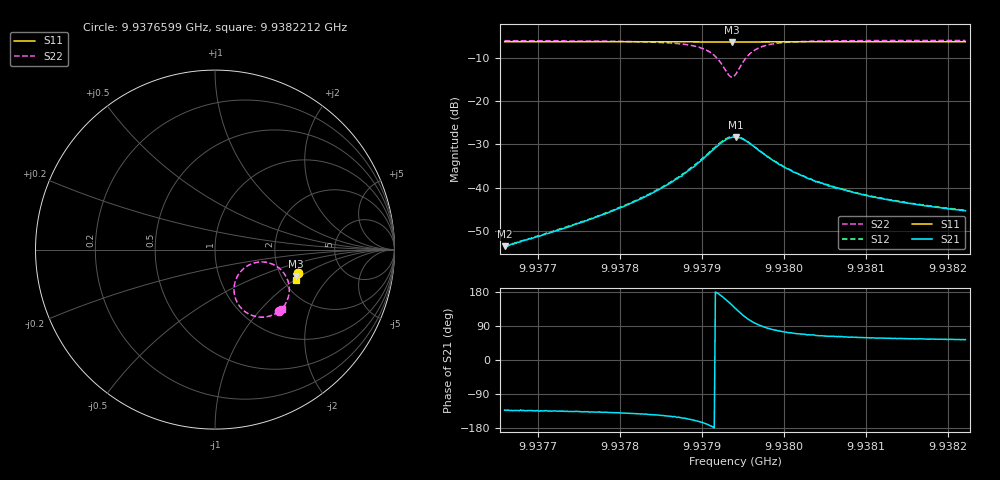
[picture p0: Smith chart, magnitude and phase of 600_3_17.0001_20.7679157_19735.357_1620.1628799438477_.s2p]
#  HZ  S  RI  R  50.00
! Rohde & Schwarz Vector Network Analyzer
! Rohde-Schwarz,ZNB20-2Port,1311601062101988,3.16
! Created: UTC 3/20/2024, 11:19:00 PM
! freq[Hz]  re:S11  im:S11  re:S21  im:S21  re:S12  im:S12  re:S22  im:S22
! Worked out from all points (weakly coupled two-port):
!   401 points, 9.9376599 GHz to 9.9382212 GHz, reference 50 ohm
!   highest |S21| = -28.33 dB at 9.937942 GHz (marker M1); lowest = -53.5 dB at 9.9376599 GHz (marker M2)
!   lowest |S11| = -6.4 dB at 9.9379363 GHz (marker M3), VSWR 2.82, Z = 120 - j46 ohm
!   |S11| at or under -10 dB: nowhere
!   |S22| runs from -14.5 to -6.1 dB; largest |S21 - S12| = 0.0018
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9.9376599e9  0.4636 -0.132  -0.00143 -0.00157  -0.00147 -0.00156  0.3564 -0.3433
9.93768656e9  0.463 -0.1337  -0.00172 -0.00181  -0.00177 -0.00179  0.3525 -0.3462
9.93775392e9  0.4614 -0.1383  -0.0029 -0.00276  -0.00299 -0.00277  0.3385 -0.3552
9.93780864e9  0.4598 -0.1421  -0.00484 -0.00403  -0.005 -0.00403  0.3183 -0.3651
9.93784793e9  0.4585 -0.1448  -0.00784 -0.00539  -0.00815 -0.00539  0.2904 -0.3735
9.9378774e9  0.4573 -0.147  -0.0128 -0.0064  -0.0131 -0.00638  0.2492 -0.3763
9.93790406e9  0.4553 -0.1489  -0.022 -0.0049  -0.0227 -0.00453  0.1748 -0.3509
9.93791529e9  0.4542 -0.1492  -0.0281 -0.000536  -0.0288 9.6e-05  0.1316 -0.3079
9.93792371e9  0.4534 -0.1491  -0.0322 0.00611  -0.0331 0.00716  0.1082 -0.2481
9.93793213e9  0.4528 -0.1483  -0.0334 0.0159  -0.0335 0.0174  0.1167 -0.1668
9.93793634e9  0.4527 -0.148  -0.0314 0.0212  -0.0316 0.023  0.1396 -0.1268
9.93794055e9  0.4531 -0.1476  -0.028 0.0261  -0.0277 0.0277  0.1742 -0.0948
9.93794195e9  0.4531 -0.1476  -0.0268 0.0274  -0.0263 0.029  0.1875 -0.0869
9.93794897e9  0.4537 -0.1474  -0.0187 0.0316  -0.0177 0.0327  0.2586 -0.0687
9.93795598e9  0.4545 -0.1475  -0.0108 0.0317  -0.00978 0.0326  0.3196 -0.0805
9.937963e9  0.455 -0.1482  -0.00501 0.0298  -0.004 0.0301  0.3618 -0.107
9.93797142e9  0.4554 -0.1489  -0.000426 0.0261  0.000522 0.0265  0.3912 -0.1421
9.93800089e9  0.4557 -0.1518  0.00482 0.0165  0.00518 0.0166  0.414 -0.2259
9.93803457e9  0.4548 -0.1545  0.00504 0.0113  0.0053 0.0112  0.407 -0.2695
9.93806123e9  0.4542 -0.1568  0.00469 0.00891  0.00499 0.00906  0.4 -0.2878
9.93812858e9  0.4524 -0.1612  0.00391 0.00605  0.00405 0.00607  0.3862 -0.3126
9.9382212e9  0.4497 -0.1675  0.00319 0.00439  0.00333 0.00438  0.3734 -0.3289
